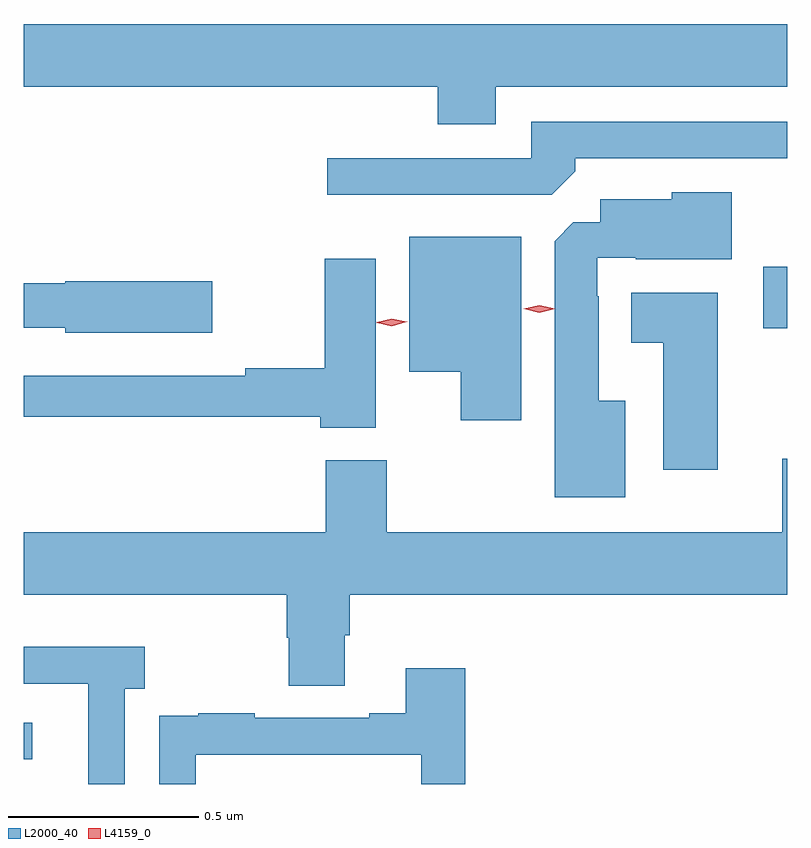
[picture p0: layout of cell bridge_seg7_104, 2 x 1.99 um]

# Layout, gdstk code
import gdstk
lib = gdstk.Library(unit=1e-6, precision=1e-09)
def R(c, l, rs):  # rectangles x0, y0, x1, y1
    for r in rs: c.add(gdstk.rectangle(r[:2], r[2:], *l))
def P(c, l, *ps):  # polygons
    for p in ps: c.add(gdstk.Polygon(p, *l))
L2000_40 = (2000, 40)
L4159_0 = (4159, 0)

bridge_seg7_104 = lib.new_cell('bridge_seg7_104')
R(bridge_seg7_104, L2000_40, [(1089.87,1020.165,1089.892,1020.261), (1091.808,1021.294,1091.87,1021.456)])
P(bridge_seg7_104, L2000_40, [(1091.107,1021.928),(1091.87,1021.928),(1091.87,1022.092),(1089.87,1022.092),(1089.87,1021.928),(1090.955,1021.928),(1090.955,1021.829),(1091.107,1021.829)],
  [(1091.315,1021.706),(1091.315,1021.74),(1091.87,1021.74),(1091.87,1021.836),(1091.199,1021.836),(1091.199,1021.74),(1090.665,1021.74),(1090.665,1021.644),(1091.253,1021.644)],
  [(1091.446,1021.105),(1091.377,1021.105),(1091.377,1021.379),(1091.373,1021.379),(1091.373,1021.479),(1091.473,1021.479),(1091.473,1021.475),(1091.725,1021.475),(1091.725,1021.651),(1091.568,1021.651),(1091.568,1021.633),(1091.381,1021.633),(1091.381,1021.572),(1091.31,1021.572),(1091.261,1021.523),(1091.261,1020.851),(1091.446,1020.851)],
  [(1091.173,1021.534),(1090.88,1021.534),(1090.88,1021.181),(1091.015,1021.181),(1091.015,1021.053),(1091.173,1021.053)],
  [(1090.792,1021.477),(1090.658,1021.477),(1090.658,1021.19),(1090.45,1021.19),(1090.45,1021.17),(1089.87,1021.17),(1089.87,1021.062),(1090.646,1021.062),(1090.646,1021.034),(1090.792,1021.034)],
  [(1090.363,1021.418),(1089.978,1021.418),(1089.978,1021.412),(1089.87,1021.412),(1089.87,1021.296),(1089.978,1021.296),(1089.978,1021.283),(1090.363,1021.283)],
  [(1091.689,1021.387),(1091.462,1021.387),(1091.462,1021.256),(1091.546,1021.256),(1091.546,1020.924),(1091.689,1020.924)],
  [(1090.711,1020.49),(1090.724,1020.49),(1090.724,1020.596),(1091.87,1020.596),(1091.87,1020.952),(1091.858,1020.952),(1091.858,1020.76),(1090.821,1020.76),(1090.821,1020.949),(1090.661,1020.949),(1090.661,1020.76),(1089.87,1020.76),(1089.87,1020.596),(1090.559,1020.596),(1090.559,1020.483),(1090.564,1020.483),(1090.564,1020.358),(1090.711,1020.358)],
  [(1090.134,1020.35),(1090.186,1020.35),(1090.186,1020.46),(1089.87,1020.46),(1089.87,1020.363),(1090.038,1020.363),(1090.038,1020.1),(1090.134,1020.1)],
  [(1090.32,1020.177),(1090.911,1020.177),(1090.911,1020.1),(1091.027,1020.1),(1091.027,1020.403),(1090.871,1020.403),(1090.871,1020.286),(1090.775,1020.286),(1090.775,1020.273),(1090.475,1020.273),(1090.475,1020.286),(1090.327,1020.286),(1090.327,1020.279),(1090.225,1020.279),(1090.225,1020.17),(1090.224,1020.17),(1090.224,1020.1),(1090.32,1020.1)])
P(bridge_seg7_104, L4159_0, [(1091.221,1021.335),(1091.18,1021.345),(1091.18,1021.345),(1091.18,1021.345),(1091.221,1021.355),(1091.262,1021.346),(1091.262,1021.345),(1091.262,1021.345)],
  [(1090.834,1021.3),(1090.795,1021.309),(1090.794,1021.31),(1090.795,1021.31),(1090.834,1021.32),(1090.873,1021.312),(1090.874,1021.311),(1090.873,1021.311)])

lib.write_gds('bridge_seg7_104.gds')
